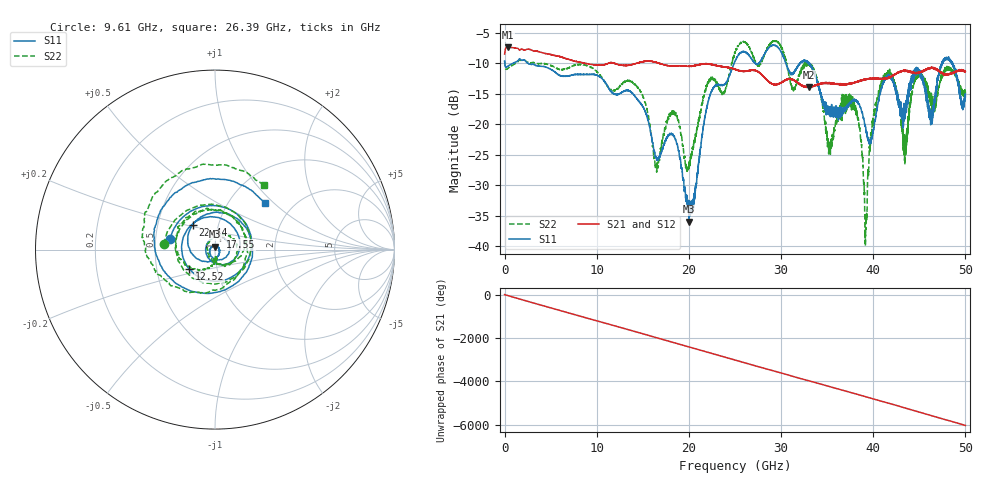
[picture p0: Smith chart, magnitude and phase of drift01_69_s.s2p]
!Created with skrf (http://scikit-rf.org).
# Hz S RI R 50.0
!freq ReS11 ImS11 ReS21 ImS21 ReS12 ImS12 ReS22 ImS22
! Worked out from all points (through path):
!   10001 points, 300 kHz to 50 GHz, reference 50 ohm
!   highest |S21| = -7.33 dB at 325.3 MHz (marker M1); lowest = -13.9 dB at 33.02 GHz (marker M2)
!   group delay of S21, straight-line fit = 335 ps
!   lowest |S11| = -36.0 dB at 20.01 GHz (marker M3), VSWR 1.03, Z = 50 + j1.59 ohm
!   |S11| at or under -10 dB: 2.556 GHz to 24.9 GHz (22.34 GHz wide, 163 % of centre); 30.53 GHz to 32.02 GHz (1.495 GHz wide, 4.78 % of centre); 33.08 GHz to 47.45 GHz (14.37 GHz wide, 35.7 % of centre) (the widest 3 of 18)
!   |S22| runs from -40.0 to -6.2 dB; largest |S21 - S12| = 0.011
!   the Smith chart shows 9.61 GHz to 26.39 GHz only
!   S11 on the Smith chart (normalised r, x): 9.61 GHz: 0.60, +0.07; 12.52 GHz: 0.74, -0.17; 17.55 GHz: 1.05, +0.15; 22.44 GHz: 0.75, +0.21; 26.39 GHz: 1.45, +0.88
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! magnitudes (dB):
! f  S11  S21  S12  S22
! 300 kHz  -9.6  -8.5  -8.5  -9.5
! 325.3 MHz  -10.5  -7.3  -7.3  -10.9
! 8.335 GHz  -11.8  -9.8  -9.8  -10.2
! 9.61 GHz  -11.8  -10.2  -10.2  -10.8
! 12.52 GHz  -14.9  -10.3  -10.3  -13.6
! 16.67 GHz  -25.8  -9.9  -9.9  -27.0
! 17.55 GHz  -22.3  -10.3  -10.3  -19.5
! 20.01 GHz  -36.0  -10.5  -10.5  -26.8
! 22.44 GHz  -14.7  -10.2  -10.2  -12.7
! 25 GHz  -9.6  -11.0  -11.0  -8.2
! 26.39 GHz  -8.4  -11.2  -11.2  -6.9
! 33.02 GHz  -10.0  -13.9  -13.8  -10.1
! 33.34 GHz  -10.7  -13.8  -13.7  -10.7
! 35.26 GHz  -18.3  -13.2  -13.2  -23.5
! 37.99 GHz  -16.0  -13.1  -13.2  -17.6
! 39.17 GHz  -20.5  -12.6  -12.6  -38.8
! 40.12 GHz  -20.0  -12.4  -12.4  -18.0
! 41.67 GHz  -11.9  -12.2  -12.4  -12.5
! 43.46 GHz  -18.2  -11.2  -11.2  -24.2
! 44.82 GHz  -11.3  -11.6  -11.6  -11.9
! 46.25 GHz  -19.1  -10.8  -10.8  -15.7
! 50 GHz  -15.5  -11.3  -11.3  -15.0
